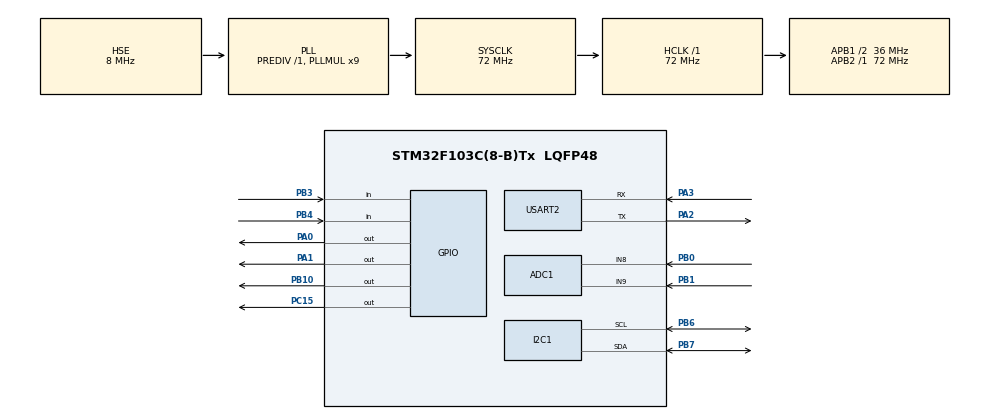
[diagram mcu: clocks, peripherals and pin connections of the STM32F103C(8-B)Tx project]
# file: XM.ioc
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ADC1.Channel-2\#ChannelRegularConversion=ADC_CHANNEL_8
ADC1.NbrOfConversionFlag=1
ADC1.Rank-2\#ChannelRegularConversion=1
ADC1.SamplingTime-2\#ChannelRegularConversion=ADC_SAMPLETIME_1CYCLE_5
ADC1.master=1
Mcu.Family=STM32F1
Mcu.Name=STM32F103C(8-B)Tx
Mcu.Package=LQFP48
NVIC.PriorityGroup=NVIC_PRIORITYGROUP_4
NVIC.USART2_IRQn=true\:0\:0\:false\:false\:true\:true\:true\:true
PA0-WKUP.GPIO_ModeDefaultOutputPP=GPIO_MODE_OUTPUT_PP
PA0-WKUP.GPIO_PuPd=GPIO_NOPULL
PA0-WKUP.GPIO_Speed=GPIO_SPEED_FREQ_LOW
PA0-WKUP.Signal=GPIO_Output
PA1.PinState=GPIO_PIN_SET
PA1.Signal=GPIO_Output
PA2.Mode=Asynchronous
PA2.Signal=USART2_TX
PA3.Mode=Asynchronous
PA3.Signal=USART2_RX
PB0.Signal=ADCx_IN8
PB1.Signal=ADCx_IN9
PB10.Signal=GPIO_Output
PB3.GPIO_PuPd=GPIO_PULLUP
PB3.Signal=GPIO_Input
PB4.GPIO_PuPd=GPIO_PULLUP
PB4.Signal=GPIO_Input
PB6.Mode=I2C
PB6.Signal=I2C1_SCL
PB7.Mode=I2C
PB7.Signal=I2C1_SDA
PC15-OSC32_OUT.Signal=GPIO_Output
PD0-OSC_IN.Mode=HSE-External-Oscillator
PD0-OSC_IN.Signal=RCC_OSC_IN
PD1-OSC_OUT.Mode=HSE-External-Oscillator
PD1-OSC_OUT.Signal=RCC_OSC_OUT
ProjectManager.HeapSize=0x200
ProjectManager.StackSize=0x400
ProjectManager.TargetToolchain=MDK-ARM V5.32
RCC.ADCPresc=RCC_ADCPCLK2_DIV6
RCC.AHBFreq_Value=72000000
RCC.APB1CLKDivider=RCC_HCLK_DIV2
RCC.APB1Freq_Value=36000000
RCC.APB1TimFreq_Value=72000000
RCC.APB2Freq_Value=72000000
RCC.APB2TimFreq_Value=72000000
RCC.HCLKFreq_Value=72000000
RCC.PLLMUL=RCC_PLL_MUL9
RCC.PLLSourceVirtual=RCC_PLLSOURCE_HSE
RCC.SYSCLKFreq_VALUE=72000000
RCC.SYSCLKSource=RCC_SYSCLKSOURCE_PLLCLK
RCC.USBFreq_Value=72000000
SH.ADCx_IN8.0=ADC1_IN8,IN8
SH.ADCx_IN9.0=ADC1_IN9,IN9
TIM2.Prescaler=71
USART2.VirtualMode=VM_ASYNC
VP_SYS_VS_ND.Mode=No_Debug
VP_TIM2_VS_ClockSourceINT.Mode=Internal
board=custom

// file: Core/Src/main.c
/* USER CODE BEGIN Header */
/**
  ******************************************************************************
  * @file           : main.c
  * @brief          : Main program body
  ******************************************************************************
  * @attention
  *
  * Copyright (c) 2025 STMicroelectronics.
  * All rights reserved.
  *
  * This software is licensed under terms that can be found in the LICENSE file
  * in the root directory of this software component.
  * If no LICENSE file comes with this software, it is provided AS-IS.
  *
  ******************************************************************************
  */
/* USER CODE END Header */
#include "main.h"
#include "adc.h"
#include "i2c.h"
#include "tim.h"
#include "usart.h"
#include "gpio.h"

/* USER CODE BEGIN Includes */
#include <string.h>
#include <stdio.h>
#include "dht11.h"
#include "oled.h"
#include "light_sensor.h"
/* USER CODE END Includes */

/* USER CODE BEGIN PM */
#define DEVICE_ID "zzzgy"   // 定义设备ID，用来唯一的标识当前设备
/* USER CODE END PM */

/* USER CODE BEGIN PV */
volatile char cmd;  // 用于存放移动端发送过来的控制命令
/* USER CODE END PV */

void SystemClock_Config(void);

/* USER CODE BEGIN 0 */
extern char ying[][16];
extern unsigned char Picture1[];
extern unsigned char Picture2[];
extern unsigned char Picture3[];
extern unsigned char Picture4[];
extern char Temp[][16];
extern char Hum[][16];
extern char T[][16];

// 重写 fputc 函数，将它重定向到 UART1
int fputc(int ch, FILE* fp)
{
	HAL_UART_Transmit(&huart2, (uint8_t*)&ch, 1, 1000);
	return ch;
}
/* USER CODE END 0 */

int main(void)
{

  /* MCU Configuration--------------------------------------------------------*/

  /* Reset of all peripherals, Initializes the Flash interface and the Systick. */
  HAL_Init();

  /* Configure the system clock */
  SystemClock_Config();

  /* Initialize all configured peripherals */
  MX_GPIO_Init();
  MX_I2C1_Init();
  MX_TIM2_Init();
  MX_USART2_UART_Init();
  MX_ADC1_Init();
  /* USER CODE BEGIN 2 */

// 用中断的方式接收一个字节的数据
	HAL_UART_Receive_IT(&huart2, (uint8_t*)&cmd, sizeof(cmd));

	HAL_Delay(1000);

	OLED_Init();
	OLED_Clear();  // 清屏

	OLED_ShowPicture(Picture4);
	HAL_Delay(1000);
	OLED_Clear();  // 清屏

	OLED_ShowChinese(40, 6, ying, 3);

  /* USER CODE END 2 */

  /* Infinite loop */
  /* USER CODE BEGIN WHILE */
	char text[] = "                Welcome to our company! Hello,China!                ";
	char line[17] = {0};
	uint16_t i = 0, cnt = 0;
	char th[17];

	char s[100];
	float temp;
	uint8_t humi;
	uint32_t light,smoke;
  while (1)
  {
		strncpy(line, text + i, 16);
		OLED_ShowString(0, 0, (uint8_t*)line, 16);
		i++;

		if(strlen(text + i) < 16) i = 0;

		if(cnt % 120 == 0)
		{
			cnt = 0;

			if(DHT11_Get(&temp, &humi))
			{
				// 采集失败
				HAL_GPIO_WritePin(GPIOA, GPIO_PIN_0, GPIO_PIN_SET);
				HAL_Delay(50);
				HAL_GPIO_WritePin(GPIOA, GPIO_PIN_0, GPIO_PIN_RESET);
			}
			else
			{
				// 采集成功
				HAL_GPIO_WritePin(GPIOC, GPIO_PIN_15, GPIO_PIN_SET);
				HAL_Delay(50);
				HAL_GPIO_WritePin(GPIOC, GPIO_PIN_15, GPIO_PIN_RESET);

				if(temp > 35 || temp < 0)
				{
					HAL_GPIO_WritePin(GPIOB, GPIO_PIN_10, GPIO_PIN_SET);
				}
			}

			OLED_ShowChinese(0, 2, Temp, 3);

			sprintf(th, "%.1f", temp);
			OLED_ShowString(45, 2, (uint8_t*)th, 16);

			OLED_ShowChinese(85, 2, T, 1);

			OLED_ShowChinese(0, 4, Hum, 3);

			sprintf(th, "%u %%RH", humi);
			OLED_ShowString(45, 4, (uint8_t*)th, 16);

			sprintf(s, "%s/sensor/dht11 %.1f_%u\n", DEVICE_ID, temp, humi);

			// 将采集到的温湿度数据上传到云端平台
			HAL_UART_Transmit(&huart2, (uint8_t*)s, strlen(s), 1000);

			// 上传光照传感器数据(ADC)
			light = Light_Sensor_Get();
			sprintf(s, "%s/state/light %u\n", DEVICE_ID, light);
			HAL_UART_Transmit(&huart2, (uint8_t*)s, strlen(s), 1000);

			// 上传烟雾传感器数据(ADC)
			smoke = Smoke_Sensor_Get();
			sprintf(s, "%s/sensor/smoke %u\n", DEVICE_ID, smoke);
			HAL_UART_Transmit(&huart2, (uint8_t*)s, strlen(s), 10);
		}

		HAL_Delay(10);
		cnt += 10;

		  // 上传有害气体传感器数据
//		sprintf(s, "%s/sensor/qiti %d\n", DEVICE_ID, !(int)HAL_GPIO_ReadPin(GPIOC, GPIO_PIN_5));
//		HAL_UART_Transmit(&huart2, (uint8_t*)s, strlen(s), 1000);
//

		  // 上传 LED 的状态
//		sprintf(s, "%s/state/led %d\n", DEVICE_ID, (int)HAL_GPIO_ReadPin(GPIOA, GPIO_PIN_1));
//		HAL_UART_Transmit(&huart2, (uint8_t*)s, strlen(s), 1000);

   		// 上传蜂鸣器的状态
//		sprintf(s, "%s/state/beep %d\n", DEVICE_ID, (int)HAL_GPIO_ReadPin(GPIOC, GPIO_PIN_7));
//		HAL_UART_Transmit(&huart2, (uint8_t*)s, strlen(s), 1000);

//		HAL_Delay(1200);

    /* USER CODE END WHILE */

  }
}

void SystemClock_Config(void)
{
  RCC_OscInitTypeDef RCC_OscInitStruct = {0};
  RCC_ClkInitTypeDef RCC_ClkInitStruct = {0};
  RCC_PeriphCLKInitTypeDef PeriphClkInit = {0};

  /** Initializes the RCC Oscillators according to the specified parameters
  * in the RCC_OscInitTypeDef structure.
  */
  RCC_OscInitStruct.OscillatorType = RCC_OSCILLATORTYPE_HSE;
  RCC_OscInitStruct.HSEState = RCC_HSE_ON;
  RCC_OscInitStruct.HSEPredivValue = RCC_HSE_PREDIV_DIV1;
  RCC_OscInitStruct.HSIState = RCC_HSI_ON;
  RCC_OscInitStruct.PLL.PLLState = RCC_PLL_ON;
  RCC_OscInitStruct.PLL.PLLSource = RCC_PLLSOURCE_HSE;
  RCC_OscInitStruct.PLL.PLLMUL = RCC_PLL_MUL9;
  if (HAL_RCC_OscConfig(&RCC_OscInitStruct) != HAL_OK)
  {
    Error_Handler();
  }

  /** Initializes the CPU, AHB and APB buses clocks
  */
  RCC_ClkInitStruct.ClockType = RCC_CLOCKTYPE_HCLK|RCC_CLOCKTYPE_SYSCLK
                              |RCC_CLOCKTYPE_PCLK1|RCC_CLOCKTYPE_PCLK2;
  RCC_ClkInitStruct.SYSCLKSource = RCC_SYSCLKSOURCE_PLLCLK;
  RCC_ClkInitStruct.AHBCLKDivider = RCC_SYSCLK_DIV1;
  RCC_ClkInitStruct.APB1CLKDivider = RCC_HCLK_DIV2;
  RCC_ClkInitStruct.APB2CLKDivider = RCC_HCLK_DIV1;

  if (HAL_RCC_ClockConfig(&RCC_ClkInitStruct, FLASH_LATENCY_2) != HAL_OK)
  {
    Error_Handler();
  }
  PeriphClkInit.PeriphClockSelection = RCC_PERIPHCLK_ADC;
  PeriphClkInit.AdcClockSelection = RCC_ADCPCLK2_DIV6;
  if (HAL_RCCEx_PeriphCLKConfig(&PeriphClkInit) != HAL_OK)
  {
    Error_Handler();
  }
}

void Error_Handler(void)
{
  __disable_irq();
  while (1)
  {
  }
}
